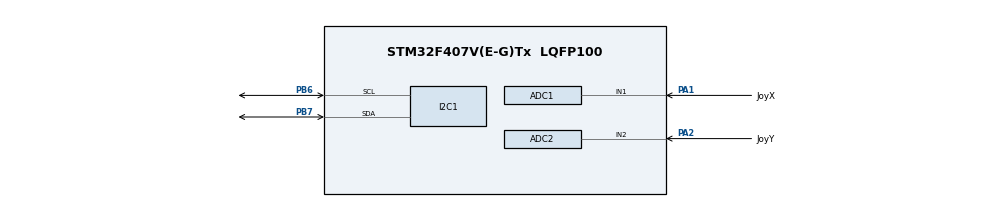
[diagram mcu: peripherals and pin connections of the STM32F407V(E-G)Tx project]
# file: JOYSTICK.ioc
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ADC1.Channel-1\#ChannelRegularConversion=ADC_CHANNEL_1
ADC1.ClockPrescaler=ADC_CLOCK_SYNC_PCLK_DIV4
ADC1.ContinuousConvMode=ENABLE
ADC1.NbrOfConversionFlag=1
ADC1.Rank-1\#ChannelRegularConversion=1
ADC1.SamplingTime-1\#ChannelRegularConversion=ADC_SAMPLETIME_3CYCLES
ADC1.master=1
ADC2.Channel-2\#ChannelRegularConversion=ADC_CHANNEL_2
ADC2.ClockPrescaler=ADC_CLOCK_SYNC_PCLK_DIV4
ADC2.ContinuousConvMode=ENABLE
ADC2.NbrOfConversionFlag=1
ADC2.Rank-2\#ChannelRegularConversion=1
ADC2.SamplingTime-2\#ChannelRegularConversion=ADC_SAMPLETIME_3CYCLES
Mcu.Family=STM32F4
Mcu.Name=STM32F407V(E-G)Tx
Mcu.Package=LQFP100
NVIC.PriorityGroup=NVIC_PRIORITYGROUP_4
PA1.GPIO_Label=JoyX
PA1.Signal=ADCx_IN1
PA13.Mode=Serial_Wire
PA13.Signal=SYS_JTMS-SWDIO
PA14.Mode=Serial_Wire
PA14.Signal=SYS_JTCK-SWCLK
PA2.GPIO_Label=JoyY
PA2.Signal=ADCx_IN2
PB6.Mode=I2C
PB6.Signal=I2C1_SCL
PB7.Mode=I2C
PB7.Signal=I2C1_SDA
PH0-OSC_IN.Mode=HSE-External-Oscillator
PH0-OSC_IN.Signal=RCC_OSC_IN
PH1-OSC_OUT.Mode=HSE-External-Oscillator
PH1-OSC_OUT.Signal=RCC_OSC_OUT
ProjectManager.HeapSize=0x200
ProjectManager.StackSize=0x400
ProjectManager.TargetToolchain=STM32CubeIDE
RCC.48MHZClocksFreq_Value=36000000
RCC.AHBFreq_Value=72000000
RCC.APB1CLKDivider=RCC_HCLK_DIV2
RCC.APB1Freq_Value=36000000
RCC.APB1TimFreq_Value=72000000
RCC.APB2Freq_Value=72000000
RCC.APB2TimFreq_Value=72000000
RCC.CortexFreq_Value=72000000
RCC.HCLKFreq_Value=72000000
RCC.HSE_VALUE=8000000
RCC.HSI_VALUE=16000000
RCC.LSE_VALUE=32768
RCC.PLLM=8
RCC.PLLN=72
RCC.SYSCLKFreq_VALUE=72000000
RCC.SYSCLKSource=RCC_SYSCLKSOURCE_PLLCLK
RCC.VCOOutputFreq_Value=144000000
SH.ADCx_IN1.0=ADC1_IN1,IN1
SH.ADCx_IN2.0=ADC1_IN2
SH.ADCx_IN2.1=ADC2_IN2,IN2
board=custom

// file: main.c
#include "main.h"

/* USER CODE BEGIN Includes */
#include "LCD_I2C.h"
#include "JOYSTICK.h"
#include "stdio.h"
/* USER CODE END Includes */

/* USER CODE BEGIN PD */
char buffer[32];
/* USER CODE END PD */

ADC_HandleTypeDef hadc1;
ADC_HandleTypeDef hadc2;
I2C_HandleTypeDef hi2c1;
/* USER CODE BEGIN PV */
Joystick_TypeDef joystick;
Joystick_Direction current_direction;
/* USER CODE END PV */

void SystemClock_Config(void);
static void MX_GPIO_Init(void);
static void MX_I2C1_Init(void);
static void MX_ADC1_Init(void);
static void MX_ADC2_Init(void);

int main(void)
{

  /* MCU Configuration--------------------------------------------------------*/

  /* Reset of all peripherals, Initializes the Flash interface and the Systick. */
  HAL_Init();

  /* Configure the system clock */
  SystemClock_Config();

  /* Initialize all configured peripherals */
  MX_GPIO_Init();
  MX_I2C1_Init();
  MX_ADC1_Init();
  MX_ADC2_Init();
  /* USER CODE BEGIN 2 */
  LCD_INIT();
  JOYSTICK_INIT(&joystick, 100);
  JOYSTICK_CALIBRATECENTER(&joystick, &hadc1, &hadc2); // Calibrate center position
  LCD_SET_CURSOR(0, 0);
  LCD_SEND_STRING("... JOYSTICK ...");
  HAL_Delay(2000);
  LCD_CLEAR();
  /* USER CODE END 2 */

  /* Infinite loop */
  /* USER CODE BEGIN WHILE */
  while (1)
  {
	  JOYSTICK_READ(&joystick, &hadc1, &hadc2);
	  current_direction = JOYSTICK_GETDIRECTION(&joystick);
	  const char* dir_str = JOYSTICK_GETDIRECTIONSTRING(current_direction);
	  LCD_SET_CURSOR(0, 0);
	  sprintf(buffer, "X:%4d Y:%4d", joystick.x_value, joystick.y_value);
	  LCD_SEND_STRING(buffer);
	  LCD_SET_CURSOR(1, 0);
	  sprintf(buffer, "Dir: %-10s", dir_str);
	  LCD_SEND_STRING(buffer);
	  HAL_Delay(200);
    /* USER CODE END WHILE */

  }
}
